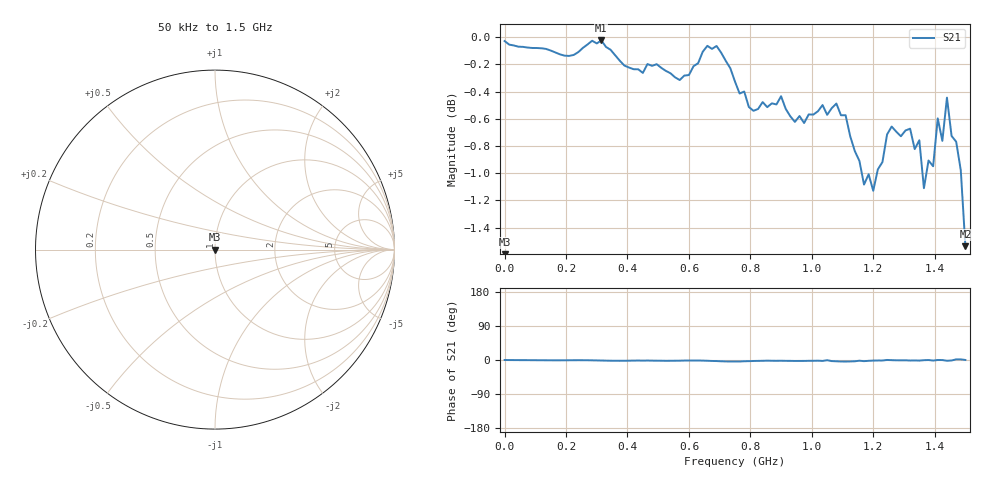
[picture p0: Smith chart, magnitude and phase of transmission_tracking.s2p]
! Created with skrf 1.8.0 (http://scikit-rf.org).
# Hz S RI R 50.0
!freq ReS11 ImS11 ReS21 ImS21 ReS12 ImS12 ReS22 ImS22
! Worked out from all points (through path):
!   101 points, 50 kHz to 1.5 GHz, reference 50 ohm
!   highest |S21| = -0.02 dB at 315 MHz (marker M1); lowest = -1.5 dB at 1.5 GHz (marker M2)
!   lowest |S11| = - dB at 50 kHz (marker M3), VSWR 1.00, Z = 50 + j0 ohm
!   |S11| at or under -10 dB: start of sweep to end of sweep
!   S12 and S22 are empty: the file has one direction only
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50000  0 0  0.9967 -0.000325  0 0  0 0
2.550415e8  0 0  0.9909 -0.00976  0 0  0 0
3.150395e8  0 0  0.9969 -0.0241  0 0  0 0
5.10033e8  0 0  0.9738 -0.033  0 0  0 0
6.90027e8  0 0  0.9914 -0.0482  0 0  0 0
7.50025e8  0 0  0.9607 -0.0669  0 0  0 0
8.550215e8  0 0  0.942 -0.0285  0 0  0 0
1.005016e9  0 0  0.9359 -0.0343  0 0  0 0
1.035016e9  0 0  0.9433 -0.0404  0 0  0 0
1.050015e9  0 0  0.9363 -0.00856  0 0  0 0
1.065014e9  0 0  0.9405 -0.0473  0 0  0 0
1.110013e9  0 0  0.9336 -0.0676  0 0  0 0
1.20001e9  0 0  0.8777 -0.0248  0 0  0 0
1.260008e9  0 0  0.9271 -0.00656  0 0  0 0
1.350005e9  0 0  0.9161 -0.0255  0 0  0 0
1.365004e9  0 0  0.8799 -0.00748  0 0  0 0
1.395004e9  0 0  0.8962 -0.0229  0 0  0 0
1.410003e9  0 0  0.9335 0.000239  0 0  0 0
1.425002e9  0 0  0.9159 -0.00189  0 0  0 0
1.440002e9  0 0  0.9495 -0.0336  0 0  0 0
1.470001e9  0 0  0.9149 0.0274  0 0  0 0
1.5e9  0 0  0.8378 0.000854  0 0  0 0
